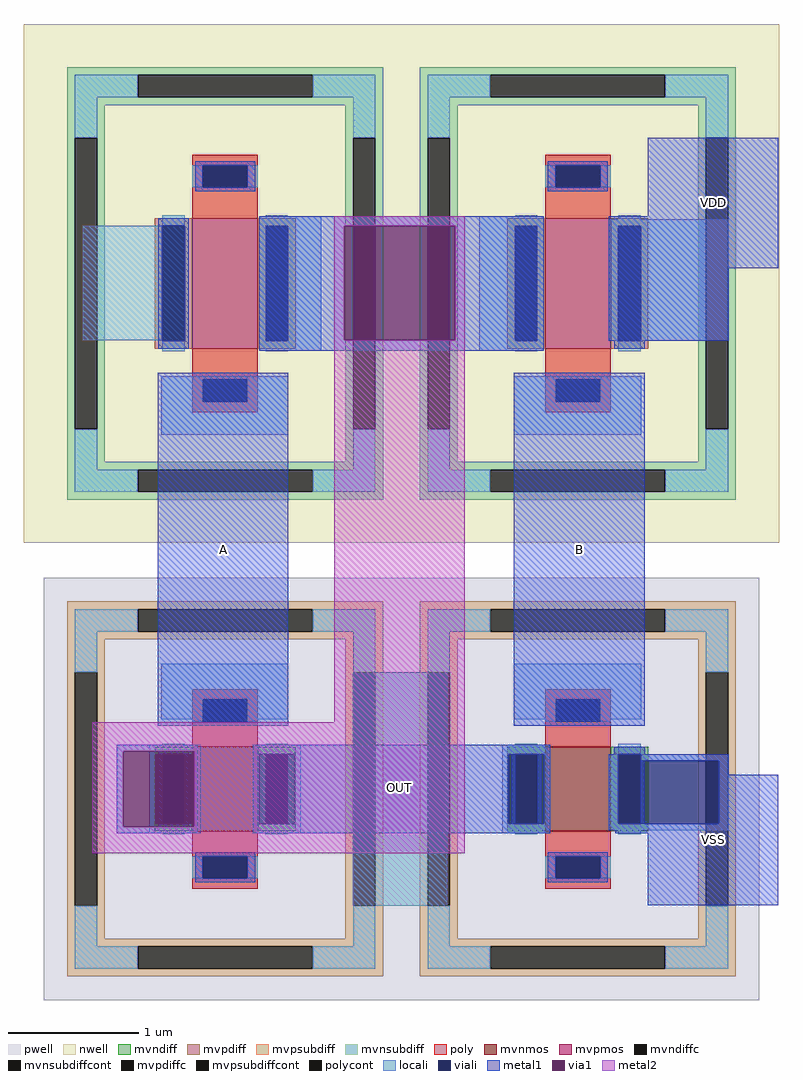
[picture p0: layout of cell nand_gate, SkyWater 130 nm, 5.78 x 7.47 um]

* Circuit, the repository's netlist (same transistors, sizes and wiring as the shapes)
* NGSPICE file created from nand_gate.ext - technology: sky130A

.subckt sky130_fd_pr__nfet_g5v0d10v5_CYDA8L a_n108_n65# a_n50_n153# a_n242_n287# a_50_n65#
X0 a_50_n65# a_n50_n153# a_n108_n65# a_n242_n287# sky130_fd_pr__nfet_g5v0d10v5 ad=0.1885 pd=1.88 as=0.1885 ps=1.88 w=0.65 l=0.5
.ends

.subckt sky130_fd_pr__pfet_g5v0d10v5_KLAZY6 a_n50_n197# a_50_n100# w_n308_n397# a_n108_n100#
X0 a_50_n100# a_n50_n197# a_n108_n100# w_n308_n397# sky130_fd_pr__pfet_g5v0d10v5 ad=0.29 pd=2.58 as=0.29 ps=2.58 w=1 l=0.5
.ends

.subckt nand_gate VDD A OUT B VSS
XXM1 OUT A VSS li_350_255# sky130_fd_pr__nfet_g5v0d10v5_CYDA8L
XXM2 li_350_255# B VSS VSS sky130_fd_pr__nfet_g5v0d10v5_CYDA8L
XXM3 A OUT VDD VDD sky130_fd_pr__pfet_g5v0d10v5_KLAZY6
XXM4 B VDD VDD OUT sky130_fd_pr__pfet_g5v0d10v5_KLAZY6
.ends

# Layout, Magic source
magic
tech sky130A
magscale 1 2
<< locali >>
rect 90 1010 246 1185
rect 360 994 455 1200
rect 697 994 796 1200
rect 895 1009 1079 1195
rect 210 865 405 955
rect 750 865 945 955
rect 210 430 405 515
rect 274 426 342 430
rect 192 376 266 391
rect 192 270 202 376
rect 256 270 266 376
rect 192 255 266 270
rect 350 376 424 391
rect 350 270 360 376
rect 414 270 424 376
rect 350 255 424 270
rect 504 144 648 502
rect 750 430 945 515
rect 814 426 882 430
rect 732 376 806 391
rect 732 270 742 376
rect 796 270 806 376
rect 732 255 806 270
rect 895 270 910 376
rect 944 366 1079 376
rect 1064 270 1079 366
rect 895 260 1079 270
<< viali >>
rect 202 270 256 376
rect 360 270 414 376
rect 742 270 796 376
rect 910 366 944 376
rect 910 270 1064 366
<< metal1 >>
rect 955 1200 1155 1320
rect 360 1185 796 1200
rect 360 1010 490 1185
rect 660 1010 796 1185
rect 360 994 796 1010
rect 895 1120 1155 1200
rect 895 1009 1079 1120
rect 205 420 405 960
rect 750 420 950 960
rect 142 381 271 391
rect 142 265 152 381
rect 261 265 271 381
rect 142 255 271 265
rect 350 376 806 391
rect 350 270 360 376
rect 414 270 742 376
rect 796 270 806 376
rect 350 255 806 270
rect 895 270 910 376
rect 944 366 1079 376
rect 1064 345 1079 366
rect 1064 270 1155 345
rect 895 260 1155 270
rect 905 255 1155 260
rect 955 145 1155 255
<< via1 >>
rect 490 1010 660 1185
rect 152 376 261 381
rect 152 270 202 376
rect 202 270 256 376
rect 256 270 261 376
rect 152 265 261 270
<< metal2 >>
rect 475 1185 675 1200
rect 475 1010 490 1185
rect 660 1010 675 1185
rect 475 425 675 1010
rect 105 381 675 425
rect 105 265 152 381
rect 261 265 675 381
rect 105 225 675 265
use sky130_fd_pr__nfet_g5v0d10v5_CYDA8L  XM1
transform 1 0 308 0 1 323
box -278 -323 278 323
use sky130_fd_pr__nfet_g5v0d10v5_CYDA8L  XM2
transform 1 0 848 0 1 323
box -278 -323 278 323
use sky130_fd_pr__pfet_g5v0d10v5_KLAZY6  XM3
transform 1 0 308 0 1 1097
box -308 -397 308 397
use sky130_fd_pr__pfet_g5v0d10v5_KLAZY6  XM4
transform 1 0 848 0 1 1097
box -308 -397 308 397
<< labels >>
flabel metal1 205 590 405 790 0 FreeSans 256 0 0 0 A
port 2 nsew
flabel metal1 750 590 950 790 0 FreeSans 256 0 0 0 B
port 4 nsew
flabel metal2 475 225 675 425 0 FreeSans 256 0 0 0 OUT
port 3 nsew
flabel metal1 955 145 1155 345 0 FreeSans 256 0 0 0 VSS
port 5 nsew
flabel metal1 955 1120 1155 1320 0 FreeSans 256 0 0 0 VDD
port 1 nsew
<< end >>

# cell sky130_fd_pr__nfet_g5v0d10v5_CYDA8L: kit device sky130_fd_pr__nfet_g5v0d10v5, w 0.65 l 0.5 m 1 nf 1 diffcov 100 polycov 100 guard 1 glc 1 grc 1 gtc 1 gbc 1 tbcov 100 rlcov 100 topc 1 botc 1 poverlap 0 doverlap 1 lmin 0.50 wmin 0.42 compatible {sky130_fd_pr__nfet_01v8 sky130_fd_pr__nfet_01v8_lvt sky130_fd_bs_flash__special_sonosfet_star sky130_fd_pr__nfet_g5v0d10v5 sky130_fd_pr__nfet_05v0_nvt sky130_fd_pr__nfet_03v3_nvt} full_metal 1 viasrc 100 viadrn 100 viagate 100 viagb 0 viagr 0 viagl 0 viagt 0

# cell sky130_fd_pr__pfet_g5v0d10v5_KLAZY6: kit device sky130_fd_pr__pfet_g5v0d10v5, w 1.0 l 0.5 m 1 nf 1 diffcov 100 polycov 100 guard 1 glc 1 grc 1 gtc 1 gbc 1 tbcov 100 rlcov 100 topc 1 botc 1 poverlap 0 doverlap 1 lmin 0.50 wmin 0.42 compatible {sky130_fd_pr__pfet_01v8 sky130_fd_pr__pfet_01v8_lvt sky130_fd_pr__pfet_01v8_hvt sky130_fd_pr__pfet_g5v0d10v5} full_metal 1 viasrc 100 viadrn 100 viagate 100 viagb 0 viagr 0 viagl 0 viagt 0
